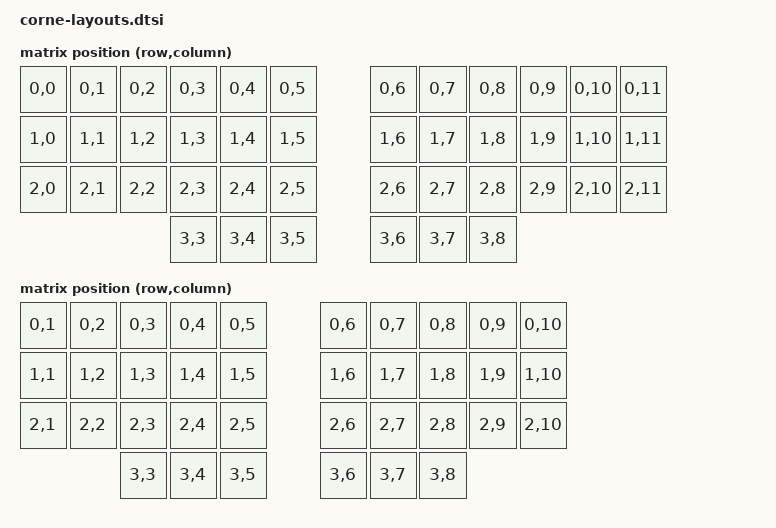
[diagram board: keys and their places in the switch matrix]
/*
 * Copyright (c) 2020 Pete Johanson
 *
 * SPDX-License-Identifier: MIT
 *
 * Corne transforms from ZMK v0.2, commit 241ff39556b3685c9344c4c22fd9a655af8eb3ba
 * Keep both layouts and node names identical to the stock Corne peripherals
 */

#include <dt-bindings/zmk/matrix_transform.h>
#include <layouts/foostan/corne/5column.dtsi>
#include <layouts/foostan/corne/6column.dtsi>

&foostan_corne_6col_layout {
    transform = <&default_transform>;
};

&foostan_corne_5col_layout {
    transform = <&five_column_transform>;
};

/ {
    default_transform: keymap_transform_0 {
        compatible = "zmk,matrix-transform";
        columns = <12>;
        rows = <4>;
        map = <
RC(0,0) RC(0,1) RC(0,2) RC(0,3) RC(0,4) RC(0,5)  RC(0,6) RC(0,7) RC(0,8) RC(0,9) RC(0,10) RC(0,11)
RC(1,0) RC(1,1) RC(1,2) RC(1,3) RC(1,4) RC(1,5)  RC(1,6) RC(1,7) RC(1,8) RC(1,9) RC(1,10) RC(1,11)
RC(2,0) RC(2,1) RC(2,2) RC(2,3) RC(2,4) RC(2,5)  RC(2,6) RC(2,7) RC(2,8) RC(2,9) RC(2,10) RC(2,11)
                        RC(3,3) RC(3,4) RC(3,5)  RC(3,6) RC(3,7) RC(3,8)
        >;
    };

    five_column_transform: keymap_transform_1 {
        compatible = "zmk,matrix-transform";
        columns = <10>;
        rows = <4>;
        map = <
RC(0,1) RC(0,2) RC(0,3) RC(0,4) RC(0,5)  RC(0,6) RC(0,7) RC(0,8) RC(0,9) RC(0,10)
RC(1,1) RC(1,2) RC(1,3) RC(1,4) RC(1,5)  RC(1,6) RC(1,7) RC(1,8) RC(1,9) RC(1,10)
RC(2,1) RC(2,2) RC(2,3) RC(2,4) RC(2,5)  RC(2,6) RC(2,7) RC(2,8) RC(2,9) RC(2,10)
                        RC(3,3) RC(3,4) RC(3,5)  RC(3,6) RC(3,7) RC(3,8)
        >;
    };
};
